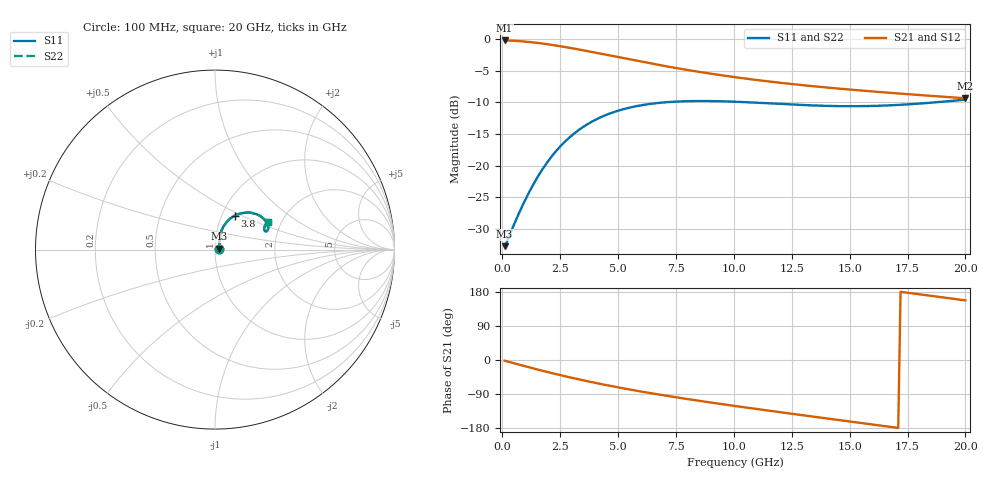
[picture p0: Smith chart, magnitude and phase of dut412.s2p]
! Touchstone file exported from HFSS 2024.1.0
!  File:  C:/UserFiles/LocalFiles/RDL_TSV_Batchsim/temp_RDL_TSV_412_1779714785.aedt
!  Generated:  09:36:54 PM May 25, 2026
!  Design:  RDL_TSV
!  Project:  temp_RDL_TSV_412_1779714785
!  Setup:  Setup1
!  Solution:  Sweep
! Variables:
!  dtsv = 7.02um
!  hbump = 3um
!  htsv = 94.07um
!  ldown = 368.5um
!  lrdl = 394.28um
!  p = 40
!  p1 = 46.27um
!  rhole = 10um
!  subl = 2682.62um
!  t = 450um
!  tdown = 2.18um
!  trdl = 4.84um
!  viad = 10um
!  wdown = 12.01um
!  wrdl = 17.08um
!  xbump = 18um
# GHz S MA R 50.000000
! Terminal data exported
! Port[1] = TM1_1_T1
! Port[2] = TM1_4_T1
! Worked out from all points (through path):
!   200 points, 100 MHz to 20 GHz, reference 50 ohm
!   highest |S21| = -0.20 dB at 100 MHz (marker M1); lowest = -9.3 dB at 20 GHz (marker M2)
!   group delay of S21, straight-line fit = 26.5 ps
!   lowest |S11| = -32.7 dB at 100 MHz (marker M3), VSWR 1.05, Z = 52.3 + j0.531 ohm
!   |S11| at or under -10 dB: start of sweep to 6.97 GHz; 10.77 GHz to 18.65 GHz (7.879 GHz wide, 53.6 % of centre)
!   |S22| runs from -32.7 to -9.5 dB; largest |S21 - S12| = 1.9e-14
!   S11 on the Smith chart (normalised r, x): 100 MHz: 1.05, +0.01; 3.8 GHz: 1.15, +0.46; 20 GHz: 1.72, +0.58
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0.1  0.02312 12.7  0.9772 -1.7  0.9772 -1.7  0.02312 12.7
! Gamma 0 0 0 0
! Port Impedance 50 0 50 0
0.2  0.02498 23.7  0.9763 -3.4  0.9763 -3.4  0.02498 23.7
0.5  0.03406 45.0  0.9712 -8.5  0.9712 -8.5  0.03408 45.0
1  0.05407 62.4  0.9568 -16.7  0.9568 -16.7  0.05405 62.4
1.7  0.09168 70.6  0.9258 -27.9  0.9258 -27.9  0.0917 70.7
2.1  0.1164 70.9  0.9039 -34.0  0.9039 -34.0  0.1164 70.9
2.5  0.1419 69.4  0.8802 -39.9  0.8802 -39.9  0.1419 69.4
3  0.1734 66.2  0.8488 -46.9  0.8488 -46.9  0.1735 66.2
3.5  0.2029 62.2  0.8165 -53.7  0.8165 -53.7  0.2031 62.2
3.8  0.2193 59.6  0.7971 -57.6  0.7971 -57.6  0.2195 59.6
4.4  0.2483 54.3  0.7587 -65.1  0.7587 -65.1  0.2485 54.4
5.1  0.2755 48.4  0.7157 -73.4  0.7157 -73.4  0.2758 48.5
5.9  0.2981 42.3  0.6701 -82.2  0.6701 -82.2  0.2984 42.4
6.8  0.3142 36.3  0.6239 -91.5  0.6239 -91.5  0.3145 36.3
8.4  0.3246 28.0  0.5554 -106.8  0.5554 -106.8  0.325 28.1
10.1  0.3202 22.4  0.4994 -121.8  0.4994 -121.8  0.3206 22.5
11.7  0.3099 19.8  0.459 -135.3  0.459 -135.3  0.3104 19.9
13.4  0.2995 19.7  0.4253 -149.2  0.4253 -149.2  0.3 19.7
15  0.2953 21.3  0.3999 -162.2  0.3999 -162.2  0.2958 21.4
16.7  0.2998 23.8  0.3773 -176.0  0.3773 -176.0  0.3003 23.9
18.3  0.3126 25.9  0.3588 171.0  0.3588 171.0  0.3132 26.0
20  0.3326 27.0  0.3412 157.3  0.3412 157.3  0.3333 27.1
